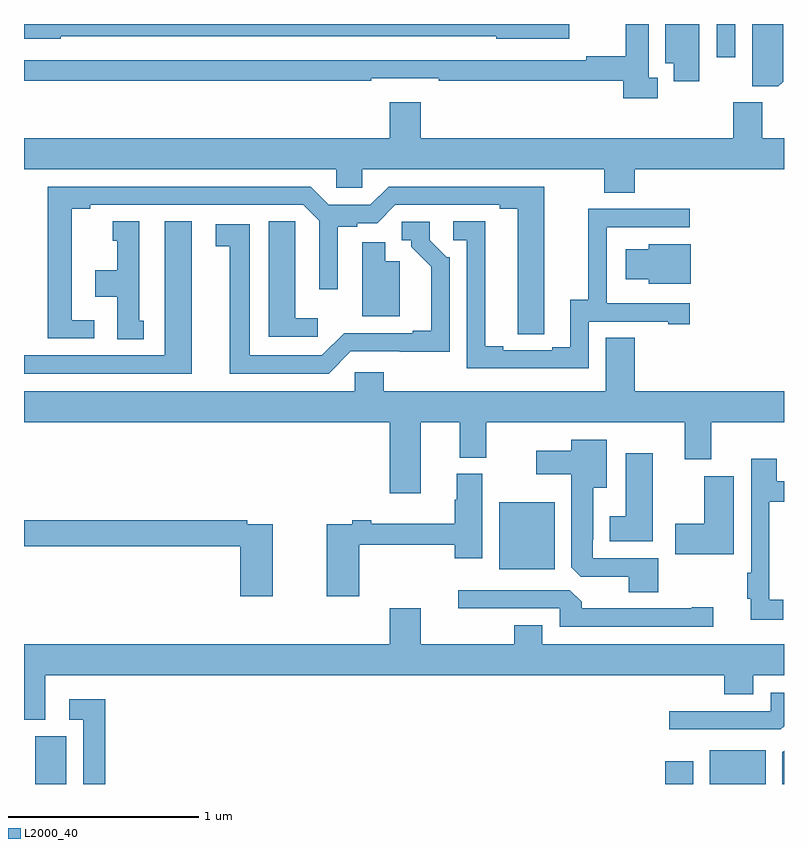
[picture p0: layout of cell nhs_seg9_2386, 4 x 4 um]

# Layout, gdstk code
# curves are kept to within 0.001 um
import gdstk
lib = gdstk.Library(unit=1e-6, precision=1e-09)
def R(c, l, rs):  # rectangles x0, y0, x1, y1
    for r in rs: c.add(gdstk.rectangle(r[:2], r[2:], *l))
def P(c, l, *ps):  # polygons
    for p in ps: c.add(gdstk.Polygon(p, *l))
L2000_40 = (2000, 40)

nhs_seg9_2386 = lib.new_cell('nhs_seg9_2386')
R(nhs_seg9_2386, L2000_40, [(247.058,1210.5,247.222,1210.752), (250.376,1210.5,250.522,1210.621), (250.61,1210.5,250.903,1210.678), (249.5,1211.63,249.793,1211.983), (250.647,1214.325,250.743,1214.5)])
P(nhs_seg9_2386, L2000_40, [(247.194,1214.436),(249.486,1214.436),(249.486,1214.423),(249.871,1214.423),(249.871,1214.5),(247,1214.5),(247,1214.423),(247.194,1214.423)],
  [(250.555,1214.5),(250.376,1214.5),(250.376,1214.294),(250.421,1214.294),(250.421,1214.198),(250.555,1214.198)],
  [(250.336,1214.218),(250.288,1214.218),(250.288,1214.5),(250.166,1214.5),(250.166,1214.33),(249.958,1214.33),(249.958,1214.31),(247,1214.31),(247,1214.202),(248.828,1214.202),(248.828,1214.214),(249.184,1214.214),(249.184,1214.202),(250.154,1214.202),(250.154,1214.108),(250.336,1214.108)],
  [(250.995,1214.196),(250.995,1214.498),(250.833,1214.498),(250.833,1214.387),(250.832,1214.387),(250.832,1214.173),(250.971,1214.173)],
  [(250.214,1213.736),(251,1213.736),(251,1213.9),(250.885,1213.9),(250.885,1214.088),(250.733,1214.088),(250.733,1213.9),(249.088,1213.9),(249.088,1214.089),(248.924,1214.089),(248.924,1213.9),(247,1213.9),(247,1213.736),(248.643,1213.736),(248.643,1213.638),(248.781,1213.638),(248.781,1213.736),(250.054,1213.736),(250.054,1213.612),(250.214,1213.612)],
  [(247.369,1212.942),(247.252,1212.942),(247.252,1213.528),(247.348,1213.528),(247.348,1213.548),(248.469,1213.548),(248.553,1213.464),(248.553,1213.104),(248.65,1213.104),(248.65,1213.432),(248.754,1213.432),(248.754,1213.452),(248.859,1213.452),(248.955,1213.548),(249.503,1213.548),(249.503,1213.528),(249.599,1213.528),(249.599,1212.868),(249.738,1212.868),(249.739,1213.644),(248.919,1213.644),(248.823,1213.548),(248.605,1213.548),(248.509,1213.644),(247.124,1213.644),(247.124,1212.846),(247.369,1212.846)],
  [(249.972,1212.933),(250.391,1212.933),(250.391,1212.921),(250.504,1212.921),(250.504,1213.029),(250.068,1213.029),(250.068,1213.431),(250.504,1213.431),(250.504,1213.527),(249.97,1213.527),(249.97,1213.049),(249.875,1213.049),(249.875,1212.798),(249.779,1212.798),(249.779,1212.783),(249.523,1212.783),(249.523,1212.803),(249.427,1212.803),(249.427,1213.463),(249.258,1213.463),(249.258,1213.362),(249.33,1213.362),(249.33,1212.687),(249.972,1212.687)],
  [(248.545,1212.952),(248.428,1212.952),(248.428,1213.355),(248.427,1213.355),(248.427,1213.463),(248.288,1213.463),(248.288,1212.855),(248.545,1212.855)],
  [(247.63,1212.939),(247.606,1212.939),(247.606,1213.462),(247.466,1213.462),(247.466,1213.359),(247.49,1213.359),(247.49,1213.204),(247.376,1213.204),(247.376,1213.064),(247.49,1213.064),(247.49,1212.841),(247.63,1212.841)],
  [(247.882,1213.462),(247.742,1213.462),(247.742,1212.756),(247,1212.756),(247,1212.66),(247.882,1212.66)],
  [(248.721,1212.777),(249.24,1212.776),(249.24,1213.272),(249.225,1213.272),(249.135,1213.362),(249.135,1213.458),(248.988,1213.458),(248.988,1213.362),(249.038,1213.362),(249.038,1213.327),(249.143,1213.222),(249.143,1212.886),(249.047,1212.886),(249.047,1212.873),(248.685,1212.873),(248.568,1212.756),(248.188,1212.756),(248.188,1213.446),(248.01,1213.446),(248.01,1213.33),(248.084,1213.33),(248.084,1212.66),(248.604,1212.66)],
  [(248.977,1213.252),(248.902,1213.252),(248.902,1213.351),(248.78,1213.351),(248.78,1212.962),(248.977,1212.962)],
  [(250.51,1213.342),(250.287,1213.342),(250.287,1213.315),(250.166,1213.315),(250.166,1213.157),(250.287,1213.157),(250.287,1213.133),(250.51,1213.133)],
  [(249.088,1212.404),(249.293,1212.404),(249.293,1212.217),(249.433,1212.217),(249.433,1212.404),(250.478,1212.404),(250.478,1212.21),(250.618,1212.21),(250.618,1212.404),(251,1212.404),(251,1212.568),(250.214,1212.568),(250.214,1212.848),(250.061,1212.848),(250.061,1212.568),(248.894,1212.568),(248.894,1212.666),(248.742,1212.666),(248.742,1212.568),(247,1212.568),(247,1212.404),(248.924,1212.404),(248.924,1212.03),(249.088,1212.03)],
  [(250.337,1211.688),(249.993,1211.688),(249.993,1211.785),(249.997,1211.785),(249.997,1212.059),(250.066,1212.059),(250.066,1212.313),(249.881,1212.313),(249.881,1212.253),(249.696,1212.253),(249.696,1212.131),(249.881,1212.131),(249.881,1211.641),(249.93,1211.592),(250.184,1211.592),(250.184,1211.509),(250.337,1211.509)],
  [(250.309,1212.241),(250.166,1212.241),(250.166,1211.908),(250.082,1211.908),(250.082,1211.777),(250.309,1211.777)],
  [(250.996,1211.469),(250.923,1211.469),(250.923,1211.985),(251,1211.985),(251,1212.094),(250.963,1212.094),(250.963,1212.211),(250.827,1212.211),(250.827,1211.612),(250.807,1211.612),(250.807,1211.476),(250.826,1211.476),(250.826,1211.364),(250.996,1211.364)],
  [(248.765,1211.76),(249.266,1211.76),(249.266,1211.688),(249.412,1211.688),(249.412,1212.132),(249.278,1212.132),(249.278,1211.996),(249.266,1211.996),(249.266,1211.869),(248.828,1211.869),(248.828,1211.888),(248.728,1211.888),(248.728,1211.868),(248.594,1211.868),(248.594,1211.487),(248.765,1211.487)],
  [(250.735,1212.121),(250.58,1212.121),(250.58,1211.871),(250.428,1211.871),(250.428,1211.708),(250.735,1211.708)],
  [(248.308,1211.868),(248.174,1211.868),(248.174,1211.888),(247,1211.888),(247,1211.752),(248.138,1211.752),(248.138,1211.487),(248.308,1211.487)],
  [(250.627,1211.429),(250.514,1211.429),(250.514,1211.424),(249.935,1211.424),(249.935,1211.458),(249.873,1211.52),(249.285,1211.52),(249.285,1211.424),(249.819,1211.424),(249.819,1211.328),(250.627,1211.328)],
  [(247.111,1211.072),(250.685,1211.072),(250.685,1210.973),(250.837,1210.973),(250.837,1211.072),(251,1211.072),(251,1211.236),(249.727,1211.236),(249.727,1211.335),(249.58,1211.335),(249.58,1211.236),(249.088,1211.236),(249.088,1211.425),(248.924,1211.425),(248.924,1211.236),(247,1211.236),(247,1210.837),(247.111,1210.837)],
  [(251,1210.805),(251,1210.98),(250.929,1210.98),(250.929,1210.884),(250.395,1210.884),(250.395,1210.788),(250.983,1210.788)],
  [(247.427,1210.945),(247.239,1210.945),(247.239,1210.839),(247.311,1210.839),(247.311,1210.5),(247.427,1210.5)],
  [(251,1210.676),(250.991,1210.667),(250.991,1210.5),(251,1210.5)])

lib.write_gds('nhs_seg9_2386.gds')
